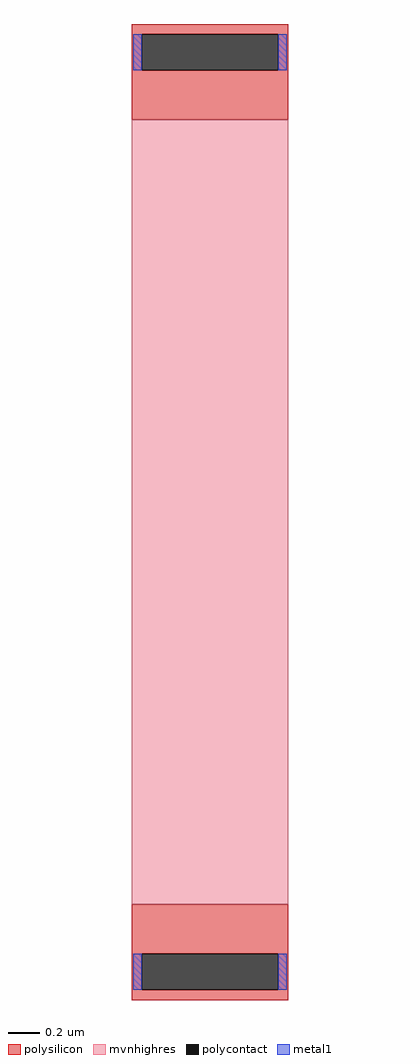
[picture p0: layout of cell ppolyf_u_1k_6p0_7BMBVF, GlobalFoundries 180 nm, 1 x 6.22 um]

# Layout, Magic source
magic
tech gf180mcuD
magscale 1 10
<< polysilicon >>
rect -100 609 100 622
rect -100 563 -87 609
rect 87 563 100 609
rect -100 500 100 563
rect -100 -563 100 -500
rect -100 -609 -87 -563
rect 87 -609 100 -563
rect -100 -622 100 -609
<< polycontact >>
rect -87 563 87 609
rect -87 -609 87 -563
<< mvnhighres >>
rect -100 -500 100 500
<< metal1 >>
rect -98 563 -87 609
rect 87 563 98 609
rect -98 -609 -87 -563
rect 87 -609 98 -563
<< properties >>
string gencell ppolyf_u_1k_6p0
string library gf180mcu
string parameters w 1.0 l 5.0 m 1 nx 1 wmin 1.000 lmin 1.000 class resistor rho 1000 val 5.152k dummy 0 dw 0.0296 term 0.0 sterm 0.0 caplen 0.4 snake 0 glc 0 grc 0 gtc 0 gbc 0 roverlap 0 endcov 100 full_metal 0 guard 0 guard_type pwell compatible {ppolyf_u_1k ppolyf_u_1k_6p0}
<< end >>
